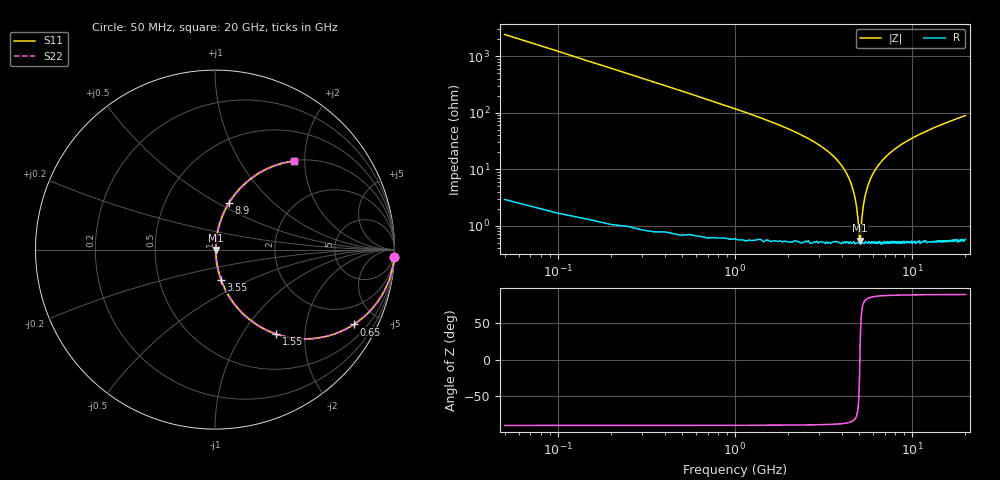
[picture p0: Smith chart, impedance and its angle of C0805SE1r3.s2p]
! AVX Thin Film Operation		Date: April 2012
! Description: Accu-P® Series, Thin Film, SMD, RF Capacitor
! Part Number: 08051J1R3PBTTR
!	100	MHz	-	20.05	GHz
!	Serial	Measurements
#	MHZ	S	MA	R	50
!	S11	S21	S12	S22
!	dB	Phase	dB	Phase	dB	Phase	dB	Phase
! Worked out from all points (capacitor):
!   400 points, 50 MHz to 20 GHz, reference 50 ohm
!   read as one part in series: C = 1.3 pF near 150 MHz
!   lowest |Z| = 539 mohm at 5.05 GHz (marker M1)
!   series resonance near 5.071 GHz, so ESL is about 760 pH
!   S11 on the Smith chart (normalised r, x): 50 MHz: 1, -49; 650 MHz: 1.01, -3.71; 1.55 GHz: 1.01, -1.43; 3.55 GHz: 1.01, -0.35; 8.9 GHz: 1.01, +0.57; 20 GHz: 1.01, +1.78
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50  0.999 -2.3  0.041 87.6  0.041 87.6  0.999 -2.3
150  0.992 -7.0  0.122 82.9  0.122 82.9  0.992 -7.0
250  0.979 -11.6  0.2 78.3  0.2 78.3  0.979 -11.6
650  0.879 -28.3  0.474 61.5  0.474 61.5  0.879 -28.3
1550  0.58 -54.1  0.81 35.5  0.81 35.5  0.58 -54.1
3400  0.194 -77.4  0.976 11.2  0.976 11.2  0.194 -77.4
3550  0.172 -78.4  0.98 9.9  0.98 9.9  0.172 -78.4
4200  0.091 -81.7  0.991 5.2  0.991 5.2  0.091 -81.7
4650  0.042 -80.9  0.994 2.4  0.994 2.4  0.042 -80.9
4900  0.017 -72.4  0.995 0.9  0.995 0.9  0.017 -72.4
5050  0.005333 -22.1  0.995 0.1  0.995 0.1  0.005333 -22.1
5100  0.005633 28.7  0.995 -0.2  0.995 -0.2  0.005633 28.7
5200  0.013 67.0  0.995 -0.7  0.995 -0.7  0.013 67.0
5300  0.022 75.7  0.995 -1.2  0.995 -1.2  0.022 75.7
5550  0.044 81.0  0.994 -2.5  0.994 -2.5  0.044 81.0
6000  0.081 81.9  0.992 -4.6  0.992 -4.6  0.081 81.9
6700  0.134 80.2  0.986 -7.7  0.986 -7.7  0.134 80.2
8900  0.274 73.1  0.957 -15.9  0.957 -15.9  0.274 73.1
10050  0.334 69.6  0.938 -19.5  0.938 -19.5  0.334 69.6
13350  0.476 61.0  0.875 -28.4  0.875 -28.4  0.476 61.0
16700  0.583 53.9  0.808 -35.7  0.808 -35.7  0.583 53.9
20000  0.663 48.1  0.744 -41.5  0.744 -41.5  0.663 48.1
